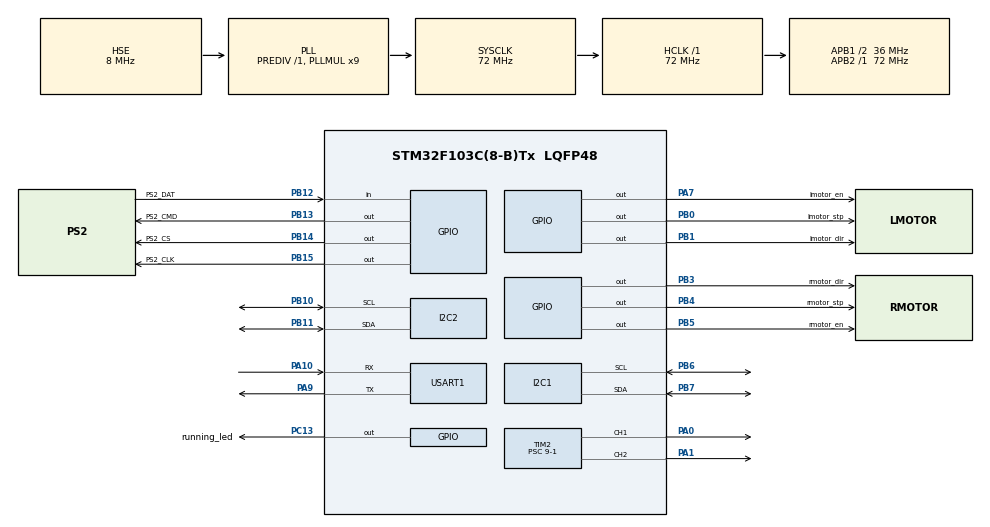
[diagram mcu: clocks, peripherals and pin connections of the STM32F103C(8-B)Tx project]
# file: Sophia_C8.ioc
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Mcu.Family=STM32F1
NVIC.DMA1_Channel5_IRQn=true\:0\:0\:false\:false\:true\:false\:true
Dma.USART1_TX.1.MemInc=DMA_MINC_ENABLE
PB10.Mode=I2C
PB14.GPIO_Label=PS2_CS
PB0.GPIO_Label=lmotor_stp
TIM2.Channel-PWM\ Generation2\ CH2=TIM_CHANNEL_2
PB13.GPIO_Label=PS2_CMD
PB11.Signal=I2C2_SDA
PB13.Signal=GPIO_Output
PB15.Signal=GPIO_Output
PB3.GPIO_Speed=GPIO_SPEED_FREQ_HIGH
RCC.SYSCLKSource=RCC_SYSCLKSOURCE_PLLCLK
ProjectManager.StackSize=0x400
PD1-OSC_OUT.Signal=RCC_OSC_OUT
PA7.PinState=GPIO_PIN_SET
PB0.PinState=GPIO_PIN_SET
PB3.PinState=GPIO_PIN_SET
PB1.GPIO_PuPd=GPIO_PULLUP
RCC.HCLKFreq_Value=72000000
RCC.APB2TimFreq_Value=72000000
PB6.Signal=I2C1_SCL
PB13.GPIO_ModeDefaultOutputPP=GPIO_MODE_OUTPUT_PP
PB5.PinState=GPIO_PIN_RESET
PB6.Mode=I2C
PB15.GPIO_ModeDefaultOutputPP=GPIO_MODE_OUTPUT_PP
RCC.AHBFreq_Value=72000000
Dma.USART1_RX.0.Priority=DMA_PRIORITY_LOW
RCC.PLLMUL=RCC_PLL_MUL9
PB12.GPIO_Label=PS2_DAT
PB3.GPIO_PuPd=GPIO_PULLUP
PC13-TAMPER-RTC.PinState=GPIO_PIN_SET
PC14-OSC32_IN.Mode=LSE-External-Oscillator
PB1.GPIO_Speed=GPIO_SPEED_FREQ_HIGH
PA14.Mode=Serial_Wire
PB1.GPIO_Label=lmotor_dir
PB7.Signal=I2C1_SDA
TIM2.Channel-PWM\ Generation1\ CH1=TIM_CHANNEL_1
PC13-TAMPER-RTC.GPIO_Speed=GPIO_SPEED_FREQ_HIGH
Dma.USART1_RX.0.MemInc=DMA_MINC_ENABLE
Dma.USART1_TX.1.PeriphDataAlignment=DMA_PDATAALIGN_BYTE
Mcu.Package=LQFP48
TIM2.Prescaler=9-1
PB14.GPIO_PuPd=GPIO_PULLUP
PB1.Signal=GPIO_Output
PB15.GPIO_PuPd=GPIO_PULLUP
PC13-TAMPER-RTC.GPIO_PuPd=GPIO_PULLUP
PA10.Signal=USART1_RX
PB5.GPIO_Speed=GPIO_SPEED_FREQ_HIGH
PB5.GPIO_Label=rmotor_en
Dma.Request1=USART1_TX
RCC.APB1TimFreq_Value=72000000
Dma.USART1_RX.0.Mode=DMA_NORMAL
Dma.USART1_TX.1.Priority=DMA_PRIORITY_LOW
NVIC.DMA1_Channel4_IRQn=true\:0\:0\:false\:false\:true\:false\:true
NVIC.USART1_IRQn=true\:0\:0\:false\:false\:true\:true\:true
Dma.Request0=USART1_RX
PB4.PinState=GPIO_PIN_SET
Dma.USART1_RX.0.Instance=DMA1_Channel5
PB4.Signal=GPIO_Output
Dma.USART1_TX.1.Direction=DMA_MEMORY_TO_PERIPH
PB3.GPIO_Label=rmotor_dir
RCC.PLLSourceVirtual=RCC_PLLSOURCE_HSE
PB5.GPIO_ModeDefaultOutputPP=GPIO_MODE_OUTPUT_PP
PC15-OSC32_OUT.Mode=LSE-External-Oscillator
Dma.USART1_TX.1.Instance=DMA1_Channel4
PD1-OSC_OUT.Mode=HSE-External-Oscillator
Dma.USART1_RX.0.PeriphDataAlignment=DMA_PDATAALIGN_BYTE
PA10.Mode=Asynchronous
PC13-TAMPER-RTC.Signal=GPIO_Output
PD0-OSC_IN.Signal=RCC_OSC_IN
RCC.APB1CLKDivider=RCC_HCLK_DIV2
PC14-OSC32_IN.Signal=RCC_OSC32_IN
PA0-WKUP.Signal=S_TIM2_CH1_ETR
PB0.GPIO_Speed=GPIO_SPEED_FREQ_HIGH
PA13.Signal=SYS_JTMS-SWDIO
SH.S_TIM2_CH2.0=TIM2_CH2,PWM Generation2 CH2
PA9.Mode=Asynchronous
PB11.Mode=I2C
ProjectManager.TargetToolchain=MDK-ARM V5.27
PB14.GPIO_Speed=GPIO_SPEED_FREQ_HIGH
Dma.USART1_RX.0.Direction=DMA_PERIPH_TO_MEMORY
PA9.Signal=USART1_TX
PB13.GPIO_Speed=GPIO_SPEED_FREQ_HIGH
PB4.GPIO_PuPd=GPIO_PULLUP
RCC.USBFreq_Value=72000000
PC15-OSC32_OUT.Signal=RCC_OSC32_OUT
PB14.GPIO_ModeDefaultOutputPP=GPIO_MODE_OUTPUT_PP
PA1.Signal=S_TIM2_CH2
PA7.GPIO_PuPd=GPIO_PULLUP
Dma.USART1_RX.0.PeriphInc=DMA_PINC_DISABLE
PD0-OSC_IN.Mode=HSE-External-Oscillator
PB10.Signal=I2C2_SCL
PB14.Signal=GPIO_Output
Dma.USART1_TX.1.MemDataAlignment=DMA_MDATAALIGN_BYTE
board=custom
PC13-TAMPER-RTC.GPIO_Label=running_led
PA7.GPIO_Speed=GPIO_SPEED_FREQ_HIGH
PB13.GPIO_PuPd=GPIO_PULLUP
PB4.GPIO_Speed=GPIO_SPEED_FREQ_HIGH
RCC.APB2Freq_Value=72000000
PB4.GPIO_Label=rmotor_stp
PB15.GPIO_Label=PS2_CLK
VP_TIM2_VS_ClockSourceINT.Mode=Internal
PB15.GPIO_Speed=GPIO_SPEED_FREQ_HIGH
Dma.USART1_RX.0.MemDataAlignment=DMA_MDATAALIGN_BYTE
TIM2.Period=500-1
PA13.Mode=Serial_Wire
Mcu.Name=STM32F103C(8-B)Tx
PB3.Signal=GPIO_Output
RCC.SYSCLKFreq_VALUE=72000000
PB5.Signal=GPIO_Output
PA7.GPIO_Label=lmotor_en
PB5.GPIO_PuPd=GPIO_PULLUP
Dma.USART1_TX.1.Mode=DMA_NORMAL
USART1.VirtualMode=VM_ASYNC
PB7.Mode=I2C
SH.S_TIM2_CH1_ETR.0=TIM2_CH1,PWM Generation1 CH1
PA14.Signal=SYS_JTCK-SWCLK
ProjectManager.HeapSize=0x200
Dma.USART1_TX.1.PeriphInc=DMA_PINC_DISABLE
NVIC.PriorityGroup=NVIC_PRIORITYGROUP_2
PB12.GPIO_PuPd=GPIO_PULLUP
RCC.APB1Freq_Value=36000000
PB0.Signal=GPIO_Output
PB12.Signal=GPIO_Input
PB0.GPIO_PuPd=GPIO_PULLUP
PA7.Signal=GPIO_Output

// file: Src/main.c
/* USER CODE BEGIN Header */
/**
  ******************************************************************************
  * @file           : main.c
  * @brief          : Main program body
  ******************************************************************************
  * @attention
  *
  * <h2><center>&copy; Copyright (c) 2021 STMicroelectronics.
  * All rights reserved.</center></h2>
  *
  * This software component is licensed by ST under Ultimate Liberty license
  * SLA0044, the "License"; You may not use this file except in compliance with
  * the License. You may obtain a copy of the License at:
  *                             www.st.com/SLA0044
  *
  ******************************************************************************
  */
/* USER CODE END Header */
#include "main.h"
#include "dma.h"
#include "i2c.h"
#include "tim.h"
#include "usart.h"
#include "gpio.h"

/* USER CODE BEGIN Includes */
#include "mytype.h"
#include "pid.h"
#include "ps2.h"
#include "fonts.h"
#include "ssd1306.h"
#include "mpu6050.h"
/* USER CODE END Includes */

/* USER CODE BEGIN PV */
MPU6050_t MPU6050;
/* USER CODE END PV */

void SystemClock_Config(void);

int main(void)
{

  /* MCU Configuration--------------------------------------------------------*/

  /* Reset of all peripherals, Initializes the Flash interface and the Systick. */
  HAL_Init();

  /* Configure the system clock */
  SystemClock_Config();

  /* Initialize all configured peripherals */
  MX_GPIO_Init();
  MX_DMA_Init();
  MX_TIM2_Init();
  MX_USART1_UART_Init();
  MX_I2C1_Init();
  MX_I2C2_Init();
  /* USER CODE BEGIN 2 */

//	HAL_GPIO_WritePin(GPIOB,GPIO_PIN_1,GPIO_PIN_RESET);

	if(MPU6050_Init(&hi2c2,&MPU6050,SD_MPU6050_Device_0,SD_MPU6050_Accelerometer_2G,SD_MPU6050_Gyroscope_2000s) !=SD_MPU6050_Result_Ok)
	{
		Error_Handler();
	}
	HAL_Delay(500);

	if (ssd1306_Init(&hi2c1) != 0)
	{
		Error_Handler();
	}
	HAL_Delay(1000);

	ssd1306_Fill(Black);
//	OLED_Clear(&hi2c1);
	ssd1306_UpdateScreen(&hi2c1);

	HAL_Delay(1000);

    // Write data to local screenbuffer
	ssd1306_WriteString(17,0,"Sophia",Font_11x18,White);

	ssd1306_WriteString(29,20,"Li_Zii",Font_7x10,White);

  // Draw rectangle on screen
	for (uint8_t i=0; i<28; i++) {
		for (uint8_t j=0; j<64; j++) {
			ssd1306_DrawPixel(100+i,0+j,White);
		}
	}

  // Copy all data from local screenbuffer to the screen
	ssd1306_UpdateScreen(&hi2c1);
	HAL_Delay(2000);

	ssd1306_Fill(Black);

	ssd1306_WriteString(10,25,"Angle_x:",Font_7x10,White);
	ssd1306_WriteString(10,SSD1306_HEIGHT-22,"Angle_y:",Font_7x10,White);

	ssd1306_UpdateScreen(&hi2c1);//������׼������������

	ssd1306_WriteString(31,0,"Sophia",Font_11x18,White);

  /* USER CODE END 2 */

  /* Infinite loop */
  while (1)
  {

    /* USER CODE BEGIN 3 */
	  MPU6050_Read_All(&hi2c2,&MPU6050);

//	  double g_x = MPU6050.Gx;
//	  double g_y = MPU6050.Gy;
//	  double g_z = MPU6050.Gz;
//
//	  double a_x = MPU6050.Ax;
//	  double a_y = MPU6050.Ay;
//	  double a_z = MPU6050.Az;

	  double angle_x = MPU6050.KalmanAngleX;
	  double angle_y = MPU6050.KalmanAngleY;

	  ssd1306_Clear_Area(68,25,100,10,Black);
	  ssd1306_Clear_Area(68,SSD1306_HEIGHT-22,100,10,Black);
	  ssd1306_ShowPiontNum(68,25,angle_x,4,Font_7x10,White);
	  ssd1306_ShowPiontNum(68,SSD1306_HEIGHT-22,angle_y,4,Font_7x10,White);

//	  printf("g_x:%f	g_y:%f	g_z:%f\r\n",g_x,g_y,g_z);
//	  printf("a_x:%f	a_y:%f	a_z:%f\r\n",a_x,a_y,a_z);
//	  printf("angle_x:%f	angle_y:%f\r\n",angle_x,angle_y);
//	  printf("------------------------\r\n");

	  ssd1306_UpdateScreen(&hi2c1);

  }
  /* USER CODE END 3 */
}

void SystemClock_Config(void)
{
  RCC_OscInitTypeDef RCC_OscInitStruct = {0};
  RCC_ClkInitTypeDef RCC_ClkInitStruct = {0};

  /** Initializes the RCC Oscillators according to the specified parameters
  * in the RCC_OscInitTypeDef structure.
  */
  RCC_OscInitStruct.OscillatorType = RCC_OSCILLATORTYPE_HSE;
  RCC_OscInitStruct.HSEState = RCC_HSE_ON;
  RCC_OscInitStruct.HSEPredivValue = RCC_HSE_PREDIV_DIV1;
  RCC_OscInitStruct.HSIState = RCC_HSI_ON;
  RCC_OscInitStruct.PLL.PLLState = RCC_PLL_ON;
  RCC_OscInitStruct.PLL.PLLSource = RCC_PLLSOURCE_HSE;
  RCC_OscInitStruct.PLL.PLLMUL = RCC_PLL_MUL9;
  if (HAL_RCC_OscConfig(&RCC_OscInitStruct) != HAL_OK)
  {
    Error_Handler();
  }
  /** Initializes the CPU, AHB and APB buses clocks
  */
  RCC_ClkInitStruct.ClockType = RCC_CLOCKTYPE_HCLK|RCC_CLOCKTYPE_SYSCLK
                              |RCC_CLOCKTYPE_PCLK1|RCC_CLOCKTYPE_PCLK2;
  RCC_ClkInitStruct.SYSCLKSource = RCC_SYSCLKSOURCE_PLLCLK;
  RCC_ClkInitStruct.AHBCLKDivider = RCC_SYSCLK_DIV1;
  RCC_ClkInitStruct.APB1CLKDivider = RCC_HCLK_DIV2;
  RCC_ClkInitStruct.APB2CLKDivider = RCC_HCLK_DIV1;

  if (HAL_RCC_ClockConfig(&RCC_ClkInitStruct, FLASH_LATENCY_2) != HAL_OK)
  {
    Error_Handler();
  }
}

void Error_Handler(void)
{
  __disable_irq();
  while (1)
  {
  }
}

#ifdef  USE_FULL_ASSERT
/**
  * @brief  Reports the name of the source file and the source line number
  *         where the assert_param error has occurred.
  * @param  file: pointer to the source file name
  * @param  line: assert_param error line source number
  * @retval None
  */
void assert_failed(uint8_t *file, uint32_t line)
{
  /* USER CODE BEGIN 6 */
	printf("Wrong parameters value: file %s on line %d\r\n", file, line);
  /* USER CODE END 6 */
}
#endif /* USE_FULL_ASSERT */

/************************ (C) COPYRIGHT STMicroelectronics *****END OF FILE****/
